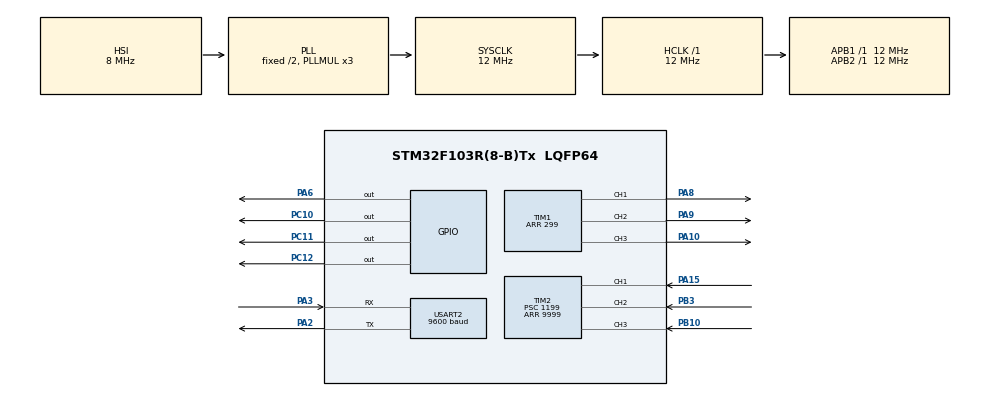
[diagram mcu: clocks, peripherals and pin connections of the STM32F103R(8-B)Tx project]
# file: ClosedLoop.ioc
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Mcu.Family=STM32F1
Mcu.Name=STM32F103R(8-B)Tx
Mcu.Package=LQFP64
NVIC.PriorityGroup=NVIC_PRIORITYGROUP_4
NVIC.TIM2_IRQn=true\:0\:0\:false\:false\:true\:true\:true\:true
NVIC.USART2_IRQn=true\:0\:0\:false\:false\:true\:true\:true\:true
PA10.Signal=S_TIM1_CH3
PA13.Mode=Serial_Wire
PA13.Signal=SYS_JTMS-SWDIO
PA14.Mode=Serial_Wire
PA14.Signal=SYS_JTCK-SWCLK
PA15.Signal=S_TIM2_CH1_ETR
PA2.Mode=Asynchronous
PA2.Signal=USART2_TX
PA3.Mode=Asynchronous
PA3.Signal=USART2_RX
PA6.Signal=GPIO_Output
PA8.Signal=S_TIM1_CH1
PA9.Signal=S_TIM1_CH2
PB10.Signal=S_TIM2_CH3
PB3.Signal=S_TIM2_CH2
PC10.Signal=GPIO_Output
PC11.Signal=GPIO_Output
PC12.Signal=GPIO_Output
PD0-OSC_IN.Mode=HSE-External-Oscillator
PD0-OSC_IN.Signal=RCC_OSC_IN
PD1-OSC_OUT.Mode=HSE-External-Oscillator
PD1-OSC_OUT.Signal=RCC_OSC_OUT
ProjectManager.HeapSize=0x200
ProjectManager.StackSize=0x400
ProjectManager.TargetToolchain=MDK-ARM V5.32
RCC.AHBFreq_Value=12000000
RCC.APB1Freq_Value=12000000
RCC.APB1TimFreq_Value=12000000
RCC.APB2Freq_Value=12000000
RCC.APB2TimFreq_Value=12000000
RCC.HCLKFreq_Value=12000000
RCC.PLLMUL=RCC_PLL_MUL3
RCC.SYSCLKFreq_VALUE=12000000
RCC.SYSCLKSource=RCC_SYSCLKSOURCE_PLLCLK
RCC.USBFreq_Value=12000000
SH.S_TIM1_CH1.0=TIM1_CH1,PWM Generation1 CH1
SH.S_TIM1_CH2.0=TIM1_CH2,PWM Generation2 CH2
SH.S_TIM1_CH3.0=TIM1_CH3,PWM Generation3 CH3
SH.S_TIM2_CH1_ETR.0=TIM2_CH1,Input_Capture1_from_TI1
SH.S_TIM2_CH2.0=TIM2_CH2,Input_Capture2_from_TI2
SH.S_TIM2_CH3.0=TIM2_CH3,Input_Capture3_from_TI3
TIM1.Channel-PWM\ Generation1\ CH1=TIM_CHANNEL_1
TIM1.Channel-PWM\ Generation2\ CH2=TIM_CHANNEL_2
TIM1.Channel-PWM\ Generation3\ CH3=TIM_CHANNEL_3
TIM1.Period=299
TIM2.Channel-Input_Capture1_from_TI1=TIM_CHANNEL_1
TIM2.Channel-Input_Capture2_from_TI2=TIM_CHANNEL_2
TIM2.Channel-Input_Capture3_from_TI3=TIM_CHANNEL_3
TIM2.Period=9999
TIM2.Prescaler=1199
USART2.BaudRate=9600
USART2.VirtualMode=VM_ASYNC
VP_TIM1_VS_ClockSourceINT.Mode=Internal
VP_TIM2_VS_ClockSourceINT.Mode=Internal
VP_TIM2_VS_XOR.Mode=XOR_enable
board=custom

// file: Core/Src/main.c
/* USER CODE BEGIN Header */
/**
  ******************************************************************************
  * @file           : main.c
  * @brief          : Main program body
  ******************************************************************************
  * @attention
  *
  * Copyright (c) 2024 STMicroelectronics.
  * All rights reserved.
  *
  * This software is licensed under terms that can be found in the LICENSE file
  * in the root directory of this software component.
  * If no LICENSE file comes with this software, it is provided AS-IS.
  *
  ******************************************************************************
  */
/* USER CODE END Header */
#include "main.h"
#include "tim.h"
#include "usart.h"
#include "gpio.h"

/* USER CODE BEGIN Includes */
#include <stdio.h>
#include <stdlib.h>
#include "Myproject.h"
/* USER CODE END Includes */

/* USER CODE BEGIN PD */
//extern float voltage_power_supply;
//extern float voltage_limit;
//extern int  pole_pairs;
//extern float velocity_limit;
//extern float voltage_sensor_align;
//extern MotionControlType controller;
//extern TorqueControlType torque_controller;
/* USER CODE END PD */

/* USER CODE BEGIN PV */
uint8_t Rx_Buffer[32]; //接收缓存区
uint16_t Rx_Flag = 0;//接收标志位
float target;//电机目标转速
/* USER CODE END PV */

void SystemClock_Config(void);

/* USER CODE BEGIN 0 */
void HAL_UART_RxCpltCallback(UART_HandleTypeDef *huart)//USART接收回调函数
{
	if(huart->Instance == USART2)
	{
		static uint16_t index = 0;

		index++;
		if(Rx_Flag != 2)//接收未完成
		{
			if(Rx_Flag == 1)//接收到了\r
			{
				if(Rx_Buffer[index-1] != '\n')
				{
					Rx_Flag = 0;//接收错误，重新开始
					index = 0;
				}
				else
				{
					Rx_Flag = 2;//接收完成  最后一个字节放'0’
					Rx_Buffer[31]='\0';
					index = 0;
				}
			}
			else
			{
				if(Rx_Buffer[index-1] == '\r') Rx_Flag = 1;
			}

		}
		HAL_UART_Receive_IT(&huart2,Rx_Buffer+index,1);
	}
}

void commander_run(void)
{
	if(Rx_Flag == 2)
	{
		if(Rx_Buffer[0] == 'T')
		{
			target=atof((const char *)(Rx_Buffer+1));
			printf ("Rx=%.4f\r\n",target);
		}
		else
		{
			printf ("input error\r\n");
		}
		Rx_Flag = 0;
	}
}

void HAL_TIM_IC_CaptureCallback(TIM_HandleTypeDef *htim)
{
	if(htim->Instance == TIM2)
	{
		if (htim->Channel == HAL_TIM_ACTIVE_CHANNEL_1)
		{
			updateState();
		}

	}
}
/* USER CODE END 0 */

int main(void)
{

  /* MCU Configuration--------------------------------------------------------*/

  /* Reset of all peripherals, Initializes the Flash interface and the Systick. */
  HAL_Init();

  /* Configure the system clock */
  SystemClock_Config();

  /* Initialize all configured peripherals */
  MX_GPIO_Init();
  MX_TIM1_Init();
  MX_TIM2_Init();
  MX_USART2_UART_Init();
  /* USER CODE BEGIN 2 */
	voltage_power_supply=24;   //V
	voltage_limit=5;           //V，最大值需小于voltage_power_supply/1.732
	velocity_limit=20;         //rad/s angleOpenloop() use it
	voltage_sensor_align=2;    //V  重要参数，航模电机大功率0.5-1，云台电机小功率2-3
	torque_controller = Type_voltage;
	controller=Type_velocity; //Type_angle; //Type_torque; //Type_velocity;
	pole_pairs=7;              //极对数

	HAL_TIM_PWM_Start(&htim1,TIM_CHANNEL_1);
    HAL_TIM_PWM_Start(&htim1,TIM_CHANNEL_2);
    HAL_TIM_PWM_Start(&htim1,TIM_CHANNEL_3);

	//Motor Enable
	HAL_GPIO_WritePin(GPIOC,GPIO_PIN_10,GPIO_PIN_SET);//EN1
	HAL_GPIO_WritePin(GPIOC,GPIO_PIN_11,GPIO_PIN_SET);//EN2
	HAL_GPIO_WritePin(GPIOC,GPIO_PIN_12,GPIO_PIN_SET);//EN3
	HAL_GPIO_WritePin(GPIOA,GPIO_PIN_6,GPIO_PIN_SET);//DIAG/EN——全桥使能

	HAL_UART_Receive_IT(&huart2,Rx_Buffer,1);

	//配置TIM2 CC1中断的一部分
	TIM_SlaveConfigTypeDef SlaveConfig;
	SlaveConfig.SlaveMode =  TIM_SLAVEMODE_DISABLE;
	SlaveConfig.InputTrigger = TIM_TS_TI1F_ED;
	SlaveConfig.TriggerPolarity = TIM_TRIGGERPOLARITY_BOTHEDGE;
	HAL_TIM_SlaveConfigSynchronization(&htim2, &SlaveConfig);

	HAL_TIM_Base_Start_IT(&htim2);
	HAL_TIM_IC_Start_IT(&htim2, TIM_CHANNEL_1);

	PID_init();

	SysTick_Config(16777215);  // 设置SysTick重装载值,最大值16777215

	printf("Motor ready\r\n");

	target = 0;//初始转速
  /* USER CODE END 2 */

  /* Infinite loop */
  while (1)
  {

    /* USER CODE BEGIN 3 */
	  move(target);
	  loopFOC();
	  commander_run();
	  //printf("angle :%f  velocity :%f\r\n",electrical_angle,getVelocity());

  }
  /* USER CODE END 3 */
}

void SystemClock_Config(void)
{
  RCC_OscInitTypeDef RCC_OscInitStruct = {0};
  RCC_ClkInitTypeDef RCC_ClkInitStruct = {0};

  /** Initializes the RCC Oscillators according to the specified parameters
  * in the RCC_OscInitTypeDef structure.
  */
  RCC_OscInitStruct.OscillatorType = RCC_OSCILLATORTYPE_HSI;
  RCC_OscInitStruct.HSIState = RCC_HSI_ON;
  RCC_OscInitStruct.HSICalibrationValue = RCC_HSICALIBRATION_DEFAULT;
  RCC_OscInitStruct.PLL.PLLState = RCC_PLL_ON;
  RCC_OscInitStruct.PLL.PLLSource = RCC_PLLSOURCE_HSI_DIV2;
  RCC_OscInitStruct.PLL.PLLMUL = RCC_PLL_MUL3;
  if (HAL_RCC_OscConfig(&RCC_OscInitStruct) != HAL_OK)
  {
    Error_Handler();
  }

  /** Initializes the CPU, AHB and APB buses clocks
  */
  RCC_ClkInitStruct.ClockType = RCC_CLOCKTYPE_HCLK|RCC_CLOCKTYPE_SYSCLK
                              |RCC_CLOCKTYPE_PCLK1|RCC_CLOCKTYPE_PCLK2;
  RCC_ClkInitStruct.SYSCLKSource = RCC_SYSCLKSOURCE_PLLCLK;
  RCC_ClkInitStruct.AHBCLKDivider = RCC_SYSCLK_DIV1;
  RCC_ClkInitStruct.APB1CLKDivider = RCC_HCLK_DIV1;
  RCC_ClkInitStruct.APB2CLKDivider = RCC_HCLK_DIV1;

  if (HAL_RCC_ClockConfig(&RCC_ClkInitStruct, FLASH_LATENCY_0) != HAL_OK)
  {
    Error_Handler();
  }
}

void Error_Handler(void)
{
  __disable_irq();
  while (1)
  {
  }
}
